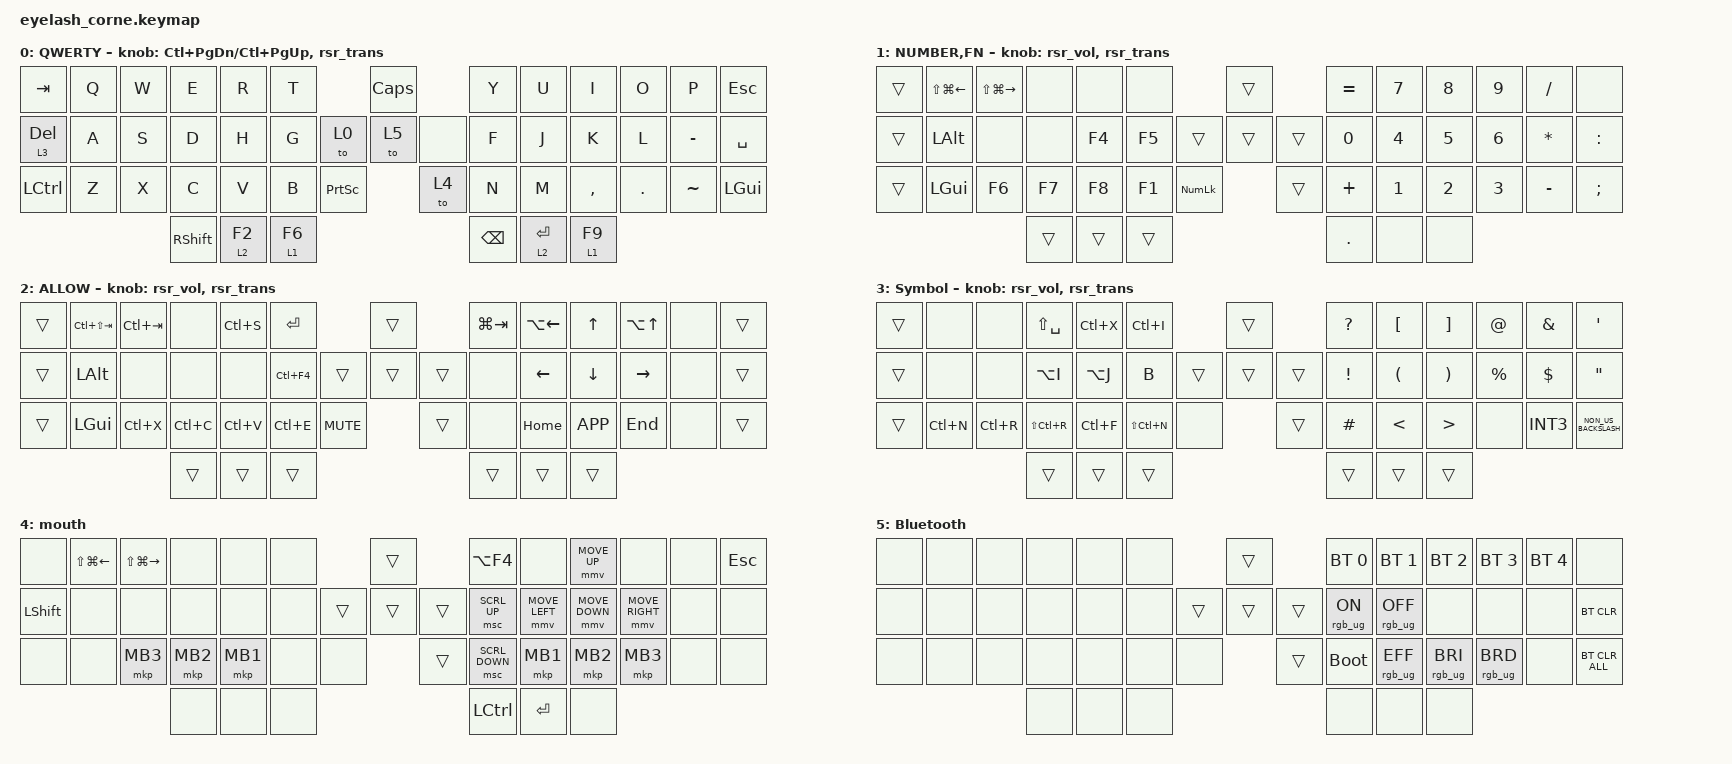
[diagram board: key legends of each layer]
#define ZMK_POINTING_DEFAULT_MOVE_VAL 1200  // 600
#define ZMK_POINTING_DEFAULT_SCRL_VAL 25   // 10

#include <input/processors.dtsi>
#include <zephyr/dt-bindings/input/input-event-codes.h>
#include <behaviors/runtime-sensor-rotate.dtsi>
#include <behaviors.dtsi>
#include <dt-bindings/zmk/bt.h>
#include <dt-bindings/zmk/keys.h>
#include <dt-bindings/zmk/pointing.h>
#include <dt-bindings/zmk/rgb.h>

&mmv_input_listener { input-processors = <&zip_xy_scaler 2 1>; };

&msc_input_listener { input-processors = <&zip_scroll_scaler 2 1>; };

&msc {
    acceleration-exponent = <1>;      // 0
    time-to-max-speed-ms = <100>;       // 300
    delay-ms = <0>;                   // 0
};

&mmv {
    time-to-max-speed-ms = <500>;
    acceleration-exponent = <1>;
    trigger-period-ms = <16>;
};

&soft_off { hold-time-ms = <2000>; };

/ {
    behaviors {
        td0: td0 {
            compatible = "zmk,behavior-tap-dance";
            display-name = "Shift/Caps Lock Tap Dance";
            #binding-cells = <0>;
            bindings = <&kp LEFT_SHIFT>, <&kp CAPS>;
        };
    };

    rgb_encoder: rgb_encoder {
        compatible = "zmk,behavior-sensor-rotate";
        #sensor-binding-cells = <0>;
        bindings = <&rgb_ug RGB_BRI>, <&rgb_ug RGB_BRD>;
    };

    scroll_encoder: scroll_encoder {
        compatible = "zmk,behavior-sensor-rotate";
        #sensor-binding-cells = <0>;
        bindings = <&msc SCRL_DOWN>, <&msc SCRL_UP>;

        tap-ms = <100>;
    };

    behaviors {
        rsr_vol: rsr_vol {
            compatible = "zmk,behavior-runtime-sensor-rotate";
            #sensor-binding-cells = <0>;
            tap-ms = <5>;
            cw-binding = <&kp C_VOL_UP>;
            ccw-binding = <&kp C_VOL_DN>;
        };

        rsr_trans: rsr_trans {
            compatible = "zmk,behavior-runtime-sensor-rotate";
            #sensor-binding-cells = <0>;
            tap-ms = <0>;
        };
    };

    combos { compatible = "zmk,combos"; };

    keymap {
        compatible = "zmk,keymap";

        default_layer {
            display-name = "QWERTY";
            bindings = <
&kp TAB    &kp Q  &kp W  &kp E            &kp R     &kp T                               &kp CAPS         &kp Y          &kp U        &kp I      &kp O       &kp P      &kp ESC
&lt 3 DEL  &kp A  &kp S  &kp D            &kp H     &kp G                        &to 0  &to 5     &none  &kp F          &kp J        &kp K      &kp L       &kp MINUS  &kp SPACE
&kp LCTRL  &kp Z  &kp X  &kp C            &kp V     &kp B     &kp PRINTSCREEN           &to 4            &kp N          &kp M        &kp COMMA  &kp PERIOD  &kp TILDE  &kp LEFT_GUI
                         &kp RIGHT_SHIFT  &lt 2 F2  &lt 1 F6                                             &kp BACKSPACE  &lt 2 ENTER  &lt 1 F9
            >;

            sensor-bindings =
                <&inc_dec_kp LC(PAGE_DOWN) LC(PAGE_UP)>,
                <&rsr_trans>;
        };

        lower_layer {
            display-name = "NUMBER,FN";
            bindings = <
&trans  &kp LS(LG(LEFT))  &kp LS(LG(RIGHT))  &none   &none   &none                             &trans          &kp EQUAL   &kp N7  &kp N8        &kp NUMBER_9  &kp SLASH     &none
&trans  &kp LEFT_ALT      &none              &none   &kp F4  &kp F5                    &trans  &trans  &trans  &kp N0      &kp N4  &kp NUMBER_5  &kp NUMBER_6  &kp ASTERISK  &kp COLON
&trans  &kp LEFT_GUI      &kp F6             &kp F7  &kp F8  &kp F1  &kp KP_NUMLOCK            &trans          &kp PLUS    &kp N1  &kp N2        &kp N3        &kp MINUS     &kp SEMICOLON
                                             &trans  &trans  &trans                                            &kp PERIOD  &none   &none
            >;

            sensor-bindings = <&rsr_vol &rsr_trans>;
        };

        raise_layer {
            display-name = "ALLOW";
            bindings = <
&trans  &kp LC(LS(TAB))  &kp LC(TAB)  &none      &kp LC(S)  &kp ENTER                         &trans          &kp LG(TAB)  &kp LA(LEFT)  &kp UP_ARROW  &kp LA(UP_ARROW)  &none  &trans
&trans  &kp LEFT_ALT     &none        &none      &none      &kp LC(F4)                &trans  &trans  &trans  &none        &kp LEFT      &kp DOWN      &kp RIGHT         &none  &trans
&trans  &kp LEFT_GUI     &kp LC(X)    &kp LC(C)  &kp LC(V)  &kp LC(E)   &kp C_MUTE            &trans          &none        &kp HOME      &kp K_APP     &kp END           &none  &trans
                                      &trans     &trans     &trans                                            &trans       &trans        &trans
            >;

            sensor-bindings = <&rsr_vol &rsr_trans>;
        };

        layer_3 {
            display-name = "Symbol";
            bindings = <
&trans  &none      &none      &kp LS(SPACE)  &kp LC(X)  &kp LC(I)                       &trans          &kp QUESTION     &kp LEFT_BRACKET      &kp RIGHT_BRACKET      &kp AT_SIGN  &kp AMPERSAND  &kp SQT
&trans  &none      &none      &kp LA(I)      &kp LA(J)  &kp B                   &trans  &trans  &trans  &kp EXCLAMATION  &kp LEFT_PARENTHESIS  &kp RIGHT_PARENTHESIS  &kp PERCENT  &kp DLLR       &kp DOUBLE_QUOTES
&trans  &kp LC(N)  &kp LC(R)  &kp LS(LC(R))  &kp LC(F)  &kp LS(LC(N))  &none            &trans          &kp HASH         &kp LESS_THAN         &kp GREATER_THAN       &none        &kp INT3       &kp NON_US_BACKSLASH
                              &trans         &trans     &trans                                          &trans           &trans                &trans
            >;

            sensor-bindings = <&rsr_vol &rsr_trans>;
        };

        mouth {
            bindings = <
&none           &kp LS(LG(LEFT))  &kp LS(LG(RIGHT))  &none     &none     &none                   &trans          &kp LA(F4)      &none           &mmv MOVE_UP    &none            &none  &kp ESCAPE
&kp LEFT_SHIFT  &none             &none              &none     &none     &none           &trans  &trans  &trans  &msc SCRL_UP    &mmv MOVE_LEFT  &mmv MOVE_DOWN  &mmv MOVE_RIGHT  &none  &none
&none           &none             &mkp MB3           &mkp MB2  &mkp MB1  &none  &none            &trans          &msc SCRL_DOWN  &mkp MB1        &mkp MB2        &mkp MB3         &none  &none
                                                     &none     &none     &none                                   &kp LCTRL       &kp ENTER       &none
            >;
        };

        Bluetooth {
            bindings = <
&none  &none  &none  &none  &none  &none                   &trans          &bt BT_SEL 0    &bt BT_SEL 1     &bt BT_SEL 2     &bt BT_SEL 3     &bt BT_SEL 4  &none
&none  &none  &none  &none  &none  &none           &trans  &trans  &trans  &rgb_ug RGB_ON  &rgb_ug RGB_OFF  &none            &none            &none         &bt BT_CLR
&none  &none  &none  &none  &none  &none  &none            &trans          &bootloader     &rgb_ug RGB_EFF  &rgb_ug RGB_BRI  &rgb_ug RGB_BRD  &none         &bt BT_CLR_ALL
                     &none  &none  &none                                   &none           &none            &none
            >;
        };
    };
};
